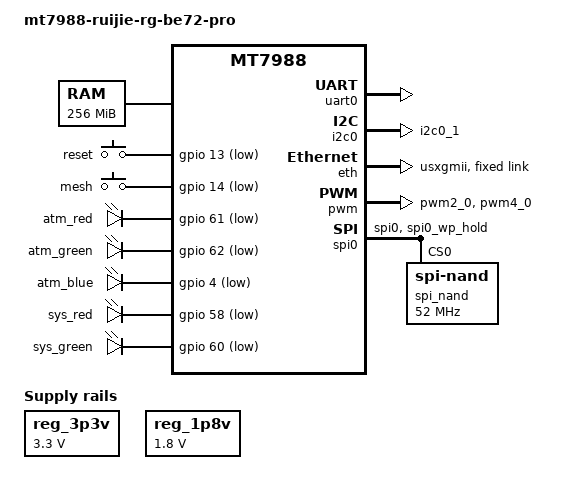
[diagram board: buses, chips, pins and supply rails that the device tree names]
// SPDX-License-Identifier: GPL-2.0
/*
 * Copyright (c) 2022 MediaTek Inc.
 * Author: Sam Shih <sam.shih@mediatek.com>
 */

/dts-v1/;
#include "mt7988.dtsi"
#include <dt-bindings/input/linux-event-codes.h>
#include <dt-bindings/gpio/gpio.h>

/ {
	model = "mt7988-ruijie-rg-be72-pro";
	compatible = "mediatek,mt7988", "mediatek,mt7988-rfb";

	chosen {
		stdout-path = &uart0;
	};

	config {
		bootcmd = "mtkboardboot";
		blink_led = "sys_green";
		system_led = "sys_red";
	};

	memory@40000000 {
		device_type = "memory";
		reg = <0 0x40000000 0 0x10000000>;
	};

	gpio-keys {
		compatible = "gpio-keys";
		pinctrl-names = "default";
		pinctrl-0 = <&button_pins>;

		reset-button {
			label = "reset";
			linux,code = <KEY_RESTART>;
			gpios = <&gpio 13 GPIO_ACTIVE_LOW>;
		};

		mesh-button {
			label = "mesh";
			linux,code = <BTN_8>;
			gpios = <&gpio 14 GPIO_ACTIVE_LOW>;
		};
	};

	gpio-leds {
		compatible = "gpio-leds";

		led-0 {
			label = "atm_red";
			gpios = <&gpio 61 GPIO_ACTIVE_LOW>;
		};

		led-1 {
			label = "atm_green";
			gpios = <&gpio 62 GPIO_ACTIVE_LOW>;
		};

		led-2 {
			label = "atm_blue";
			gpios = <&gpio 4 GPIO_ACTIVE_LOW>;
		};

		led-3 {
			label = "sys_red";
			gpios = <&gpio 58 GPIO_ACTIVE_LOW>;
		};

		led-4 {
			label = "sys_green";
			gpios = <&gpio 60 GPIO_ACTIVE_LOW>;
		};
	};

// Not work
	// pwm-leds {
	// 	compatible = "pwm-leds";

	// 	led-0 {
	// 		label = "led_b";
	// 		max-brightness = <255>;
	// 		u-boot,default-brightness = <0>;
	// 		pwms = <&pwm 2 10000>;
	// 	};
		
	// 	led-1 {
	// 		label = "led_g";
	// 		max-brightness = <255>;
	// 		u-boot,default-brightness = <0>;
	// 		pwms = <&pwm 4 10000>;
	// 	};
	// };

	reg_3p3v: regulator-3p3v {
		compatible = "regulator-fixed";
		regulator-name = "fixed-3.3V";
		regulator-min-microvolt = <3300000>;
		regulator-max-microvolt = <3300000>;
		regulator-boot-on;
		regulator-always-on;
	};

	reg_1p8v: regulator-1p8v {
		compatible = "regulator-fixed";
		regulator-name = "fixed-1.8V";
		regulator-min-microvolt = <1800000>;
		regulator-max-microvolt = <1800000>;
		regulator-boot-on;
		regulator-always-on;
	};

	cpus {
		/delete-node/ cpu@3;
	};

	bl2_verify {
		bl2_compatible = "spim-nand";
	};
};

&uart0 {
	status = "okay";
};

&i2c0 {
	pinctrl-names = "default";
	pinctrl-0 = <&i2c0_pins>;
	status = "okay";
};

&eth {
	status = "okay";
	mediatek,gmac-id = <0>;
	phy-mode = "usxgmii";
	mediatek,switch = "mt7988";

	fixed-link {
		speed = <1000>;
		full-duplex;
		pause;
	};
};

&pinctrl {
	button_pins: button-pins {
		pins = "GPIO_WPS", "GPIO_RESET";
		mediatek,pull-down-adv = <0>;
	};

	i2c0_pins: i2c0-pins-g0 {
		mux {
			function = "i2c";
			groups = "i2c0_1";
		};
	};

	pwm_led_pins: pwm-led-pins {
		mux {
			function = "pwm";
			groups =  "pwm2_0", "pwm4_0";
		};
	};

	spi0_pins: spi0-pins {
		mux {
			function = "spi";
			groups = "spi0", "spi0_wp_hold";
		};
	};

};

&pwm {
	pinctrl-names = "default";
	pinctrl-0 = <&pwm_led_pins>;
	status = "okay";
};

&spi0 {
	pinctrl-names = "default";
	pinctrl-0 = <&spi0_pins>;
	#address-cells = <1>;
	#size-cells = <0>;
	status = "okay";
	must_tx;
	enhance_timing;
	dma_ext;
	ipm_design;
	support_quad;
	tick_dly = <2>;
	sample_sel = <0>;

	spi_nand@0 {
		compatible = "spi-nand";
		reg = <0>;
		spi-max-frequency = <52000000>;
	};
};

&watchdog {
	status = "disabled";
};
